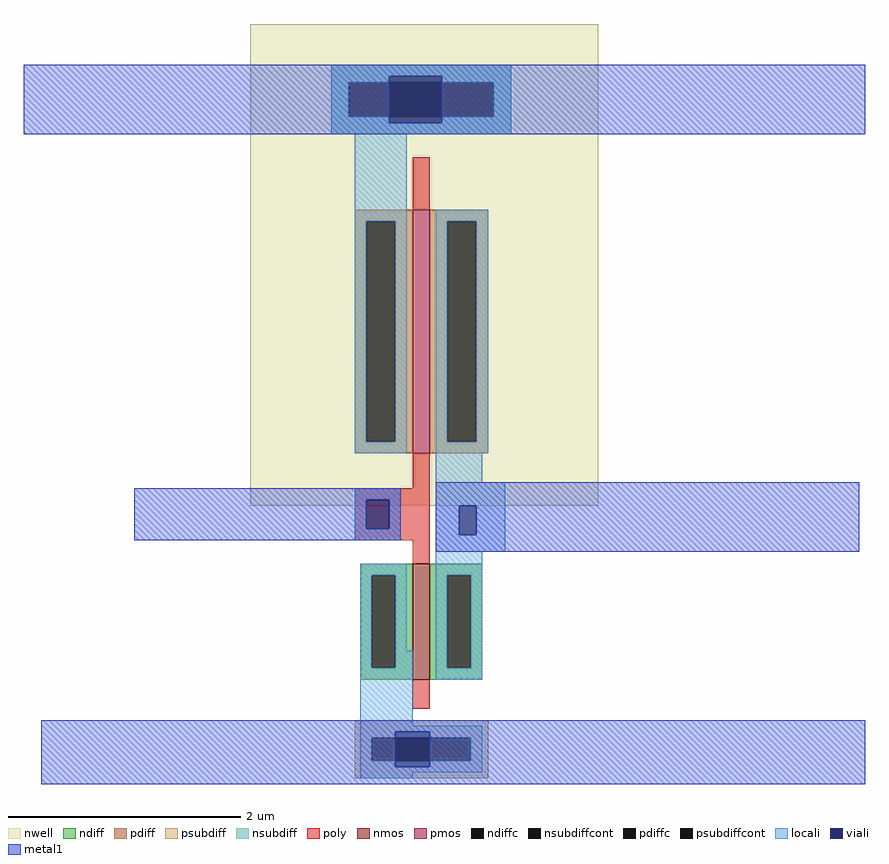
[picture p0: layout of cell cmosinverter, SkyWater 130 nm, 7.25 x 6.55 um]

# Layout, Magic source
magic
tech sky130A
<< nwell >>
rect -100 -350 200 65
<< nmos >>
rect 40 -500 55 -400
<< pmos >>
rect 40 -305 55 -95
<< ndiff >>
rect -5 -410 40 -400
rect -5 -490 5 -410
rect 25 -490 40 -410
rect -5 -500 40 -490
rect 55 -410 100 -400
rect 55 -490 70 -410
rect 90 -490 100 -410
rect 55 -500 100 -490
<< pdiff >>
rect -10 -105 40 -95
rect -10 -295 0 -105
rect 25 -295 40 -105
rect -10 -305 40 -295
rect 55 -105 105 -95
rect 55 -295 70 -105
rect 95 -295 105 -105
rect 55 -305 105 -295
<< ndiffc >>
rect 5 -490 25 -410
rect 70 -490 90 -410
<< pdiffc >>
rect 0 -295 25 -105
rect 70 -295 95 -105
<< psubdiff >>
rect -10 -550 105 -535
rect -10 -570 5 -550
rect 90 -570 105 -550
rect -10 -585 105 -570
<< nsubdiff >>
rect -30 15 125 30
rect -30 -15 -15 15
rect 110 -15 125 15
rect -30 -30 125 -15
<< psubdiffcont >>
rect 5 -570 90 -550
<< nsubdiffcont >>
rect -15 -15 110 15
<< poly >>
rect 40 -95 55 -50
rect 40 -335 55 -305
rect -10 -380 55 -335
rect 40 -400 55 -380
rect 40 -525 55 -500
<< locali >>
rect -30 20 125 30
rect -30 15 20 20
rect 65 15 125 20
rect -30 -15 -15 15
rect 110 -15 125 15
rect -30 -20 20 -15
rect 65 -20 125 -15
rect -30 -30 125 -20
rect -10 -105 35 -30
rect -10 -295 0 -105
rect 25 -295 35 -105
rect -10 -305 35 -295
rect 60 -105 105 -95
rect 60 -295 70 -105
rect 95 -295 105 -105
rect 60 -305 105 -295
rect 60 -330 100 -305
rect -10 -345 30 -335
rect -10 -370 0 -345
rect 20 -370 30 -345
rect -10 -380 30 -370
rect 60 -350 120 -330
rect 60 -375 80 -350
rect 95 -375 120 -350
rect 60 -390 120 -375
rect -5 -410 35 -400
rect -5 -490 5 -410
rect 25 -475 35 -410
rect 60 -410 100 -390
rect 25 -490 40 -475
rect -5 -540 40 -490
rect 60 -490 70 -410
rect 90 -490 100 -410
rect 60 -500 100 -490
rect -5 -545 100 -540
rect -5 -550 25 -545
rect 55 -550 100 -545
rect -5 -570 5 -550
rect 90 -570 100 -550
rect -5 -575 25 -570
rect 55 -575 100 -570
rect -5 -580 100 -575
rect -5 -585 40 -580
<< viali >>
rect 20 15 65 20
rect 20 -15 65 15
rect 20 -20 65 -15
rect 0 -370 20 -345
rect 80 -375 95 -350
rect 25 -550 55 -545
rect 25 -570 55 -550
rect 25 -575 55 -570
<< metal1 >>
rect -295 20 430 30
rect -295 -20 20 20
rect 65 -20 430 20
rect -295 -30 430 -20
rect -200 -345 30 -335
rect -200 -370 0 -345
rect 20 -370 30 -345
rect -200 -380 30 -370
rect 60 -350 425 -330
rect 60 -375 80 -350
rect 95 -375 425 -350
rect 60 -390 425 -375
rect -280 -545 430 -535
rect -280 -575 25 -545
rect 55 -575 430 -545
rect -280 -590 430 -575
<< end >>
